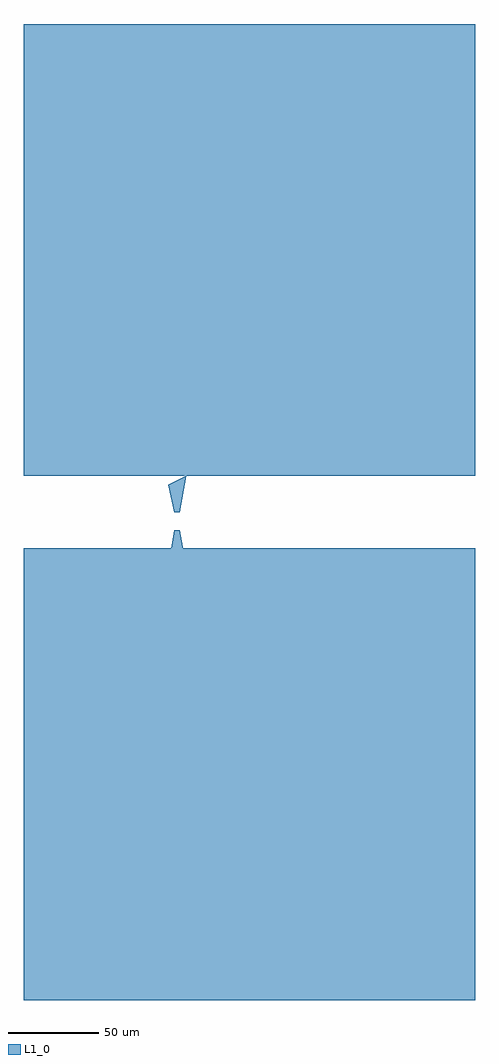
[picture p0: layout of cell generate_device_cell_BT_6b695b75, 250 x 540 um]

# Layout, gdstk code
import gdstk
lib = gdstk.Library(unit=1e-6, precision=1e-09)
def R(c, l, rs):  # rectangles x0, y0, x1, y1
    for r in rs: c.add(gdstk.rectangle(r[:2], r[2:], *l))
def P(c, l, *ps):  # polygons
    for p in ps: c.add(gdstk.Polygon(p, *l))
L1_0 = (1, 0)

rectangle_s250_250_l1_0_ = lib.new_cell('rectangle_S250_250_L1_0_074ab488')
R(rectangle_s250_250_l1_0_, L1_0, [(0,0,250,250)])

unnamed_81 = lib.new_cell('Unnamed_81')
R(unnamed_81, L1_0, [(233.5,140,236.5,150)])
unnamed_81.add(gdstk.Reference(rectangle_s250_250_l1_0_, (0,0)))
unnamed_81.add(gdstk.Reference(rectangle_s250_250_l1_0_, (0,290)))

unnamed_82 = lib.new_cell('Unnamed_82')
R(unnamed_82, L1_0, [(230,90,240,120), (230,170,240,200)])
P(unnamed_82, L1_0, [(230,120),(233.5,140),(236.5,140),(240,120)],
  [(233.5,150),(230,165),(240,170),(236.5,150)])

generate_device_cell_bt_ = lib.new_cell('generate_device_cell_BT_6b695b75')
generate_device_cell_bt_.add(gdstk.Reference(unnamed_81, (0,0)))
generate_device_cell_bt_.add(gdstk.Reference(unnamed_82, (-150,120)))

lib.write_gds('generate_device_cell_BT_6b695b75.gds')
